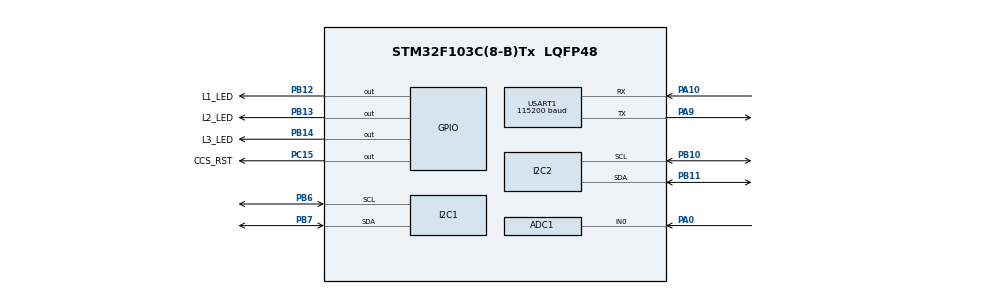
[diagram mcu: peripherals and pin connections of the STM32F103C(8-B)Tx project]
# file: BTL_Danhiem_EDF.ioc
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ADC1.Channel-0\#ChannelRegularConversion=ADC_CHANNEL_0
ADC1.ContinuousConvMode=ENABLE
ADC1.NbrOfConversionFlag=1
ADC1.Rank-0\#ChannelRegularConversion=1
ADC1.SamplingTime-0\#ChannelRegularConversion=ADC_SAMPLETIME_1CYCLE_5
ADC1.master=1
FREERTOS.BinarySemaphores01=BinarySem_ISR,Dynamic,NULL,Available
FREERTOS.HEAP_NUMBER=4
FREERTOS.Queues01=LCD_Queue,16,SensorData,0,Dynamic,NULL,NULL
FREERTOS.Tasks01=CO_mea,0,128,StartCO_mea,Default,NULL,Dynamic,NULL,NULL;Warning,-3,128,StartWarning,Default,NULL,Dynamic,NULL,NULL;LCD,-3,128,StartLCD,Default,NULL,Dynamic,NULL,NULL;CO2_mea,-3,128,StartCO2_mea,Default,NULL,Dynamic,NULL,NULL;TVOC_mea,-3,128,StartTVOC_mea,Default,NULL,Dynamic,NULL,NULL;UART_Send,-3,128,StartUART_Send,Default,NULL,Dynamic,NULL,NULL;Task_ISR,3,128,StartTask_ISR,Default,NULL,Dynamic,NULL,NULL
FREERTOS.configTOTAL_HEAP_SIZE=4800
FREERTOS.configUSE_PREEMPTION=0
Mcu.Family=STM32F1
Mcu.Name=STM32F103C(8-B)Tx
Mcu.Package=LQFP48
NVIC.PriorityGroup=NVIC_PRIORITYGROUP_4
NVIC.TIM2_IRQn=true\:15\:0\:false\:false\:true\:false\:false\:true\:true
NVIC.TimeBase=TIM2_IRQn
NVIC.TimeBaseIP=TIM2
NVIC.USART1_IRQn=true\:5\:0\:false\:false\:true\:true\:true\:true\:true
PA0-WKUP.Signal=ADCx_IN0
PA10.Mode=Asynchronous
PA10.Signal=USART1_RX
PA13.Mode=Serial_Wire
PA13.Signal=SYS_JTMS-SWDIO
PA14.Mode=Serial_Wire
PA14.Signal=SYS_JTCK-SWCLK
PA9.Mode=Asynchronous
PA9.Signal=USART1_TX
PB10.Mode=I2C
PB10.Signal=I2C2_SCL
PB11.Mode=I2C
PB11.Signal=I2C2_SDA
PB12.GPIO_Label=L1_LED
PB12.GPIO_Speed=GPIO_SPEED_FREQ_LOW
PB12.PinState=GPIO_PIN_SET
PB12.Signal=GPIO_Output
PB13.GPIO_Label=L2_LED
PB13.PinState=GPIO_PIN_SET
PB13.Signal=GPIO_Output
PB14.GPIO_Label=L3_LED
PB14.PinState=GPIO_PIN_SET
PB14.Signal=GPIO_Output
PB6.Mode=I2C
PB6.Signal=I2C1_SCL
PB7.Mode=I2C
PB7.Signal=I2C1_SDA
PC15-OSC32_OUT.GPIO_Label=CCS_RST
PC15-OSC32_OUT.PinState=GPIO_PIN_SET
PC15-OSC32_OUT.Signal=GPIO_Output
PD0-OSC_IN.Mode=HSE-External-Oscillator
PD0-OSC_IN.Signal=RCC_OSC_IN
PD1-OSC_OUT.Mode=HSE-External-Oscillator
PD1-OSC_OUT.Signal=RCC_OSC_OUT
ProjectManager.HeapSize=0x200
ProjectManager.StackSize=0x400
ProjectManager.TargetToolchain=STM32CubeIDE
RCC.APB1Freq_Value=8000000
RCC.APB2Freq_Value=8000000
SH.ADCx_IN0.0=ADC1_IN0,IN0
USART1.BaudRate=115200
USART1.VirtualMode=VM_ASYNC
VP_FREERTOS_VS_CMSIS_V1.Mode=CMSIS_V1
VP_SYS_VS_tim2.Mode=TIM2
board=custom

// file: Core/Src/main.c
/* USER CODE BEGIN Header */
/**
  ******************************************************************************
  * @file           : main.c
  * @brief          : Main program body
  ******************************************************************************
  * @attention
  *
  * Copyright (c) 2024 STMicroelectronics.
  * All rights reserved.
  *
  * This software is licensed under terms that can be found in the LICENSE file
  * in the root directory of this software component.
  * If no LICENSE file comes with this software, it is provided AS-IS.
  *
  ******************************************************************************
  */
/* USER CODE END Header */
#include "main.h"
#include "cmsis_os.h"

/* USER CODE BEGIN Includes */
#include "math.h"
#include "i2c-lcd.h"
#include <stdio.h>
#include "ccs811.h"
#include <stdlib.h>
#include <string.h>
#include "warning.h"
/* USER CODE END Includes */

/* USER CODE BEGIN PTD */
#define QUEUE_SIZE 9
/* USER CODE END PTD */

/* USER CODE BEGIN PD */
#define MAX_TASK 6
/* USER CODE END PD */

ADC_HandleTypeDef hadc1;

I2C_HandleTypeDef hi2c1;
I2C_HandleTypeDef hi2c2;

UART_HandleTypeDef huart1;

osThreadId CO_meaHandle;
osThreadId WarningHandle;
osThreadId LCDHandle;
osThreadId CO2_meaHandle;
osThreadId TVOC_meaHandle;
osThreadId UART_SendHandle;
osThreadId Task_ISRHandle;
osMessageQId LCD_QueueHandle;
osSemaphoreId BinarySem_ISRHandle;
/* USER CODE BEGIN PV */
typedef struct {
	char unit[4];
    char sensorName[10];  // Tên cảm biến
    uint16_t value;          // Giá trị đo
} SensorData;

typedef struct {
    const char *name;
    uint32_t execution_time;
    uint32_t deadline;
    uint32_t period;
} TaskConfig;

TaskConfig tasks[] = {
    {"StartCO_mea", 10, 100, 3000},
    {"StartCO2_mea", 10, 1100, 3000},
    {"StartTVOC_mea", 10, 2100, 3000},
    {"StartWarning", 5, 150, 1000},
	{"StartLCD_1", 60, 300, 1000},
    {"StartUart_Send", 10, 2400, 3000},
};
osThreadId task_ids[MAX_TASK];
uint32_t deadlines[MAX_TASK]={100,1100,2100,150,300,2400};

uint16_t Tvoc ;
uint16_t Tvoc_ppb;
uint32_t CO_adc_val;
uint16_t eCO2 ;
uint16_t CO2_ppm;
float CO_vol;
uint16_t CO_ppm;
char Lcd_buf[16];
uint8_t Uart_TX_Buf[40];
uint8_t Uart_RX_Buf[2];
/* USER CODE END PV */

void SystemClock_Config(void);
static void MX_GPIO_Init(void);
static void MX_ADC1_Init(void);
static void MX_I2C1_Init(void);
static void MX_I2C2_Init(void);
static void MX_USART1_UART_Init(void);
void StartCO_mea(void const * argument);
void StartWarning(void const * argument);
void StartLCD(void const * argument);
void StartCO2_mea(void const * argument);
void StartTVOC_mea(void const * argument);
void StartUART_Send(void const * argument);
void StartTask_ISR(void const * argument);

/* USER CODE BEGIN 0 */

int CO_ppm_convert(float CO_vol) {
    float a = ((5.0 - CO_vol) / CO_vol) * (10/10);
    return (int)round(100 * pow(a, -1.559));
}
void CO_measure()
{
	CO_adc_val = HAL_ADC_GetValue(&hadc1);
	CO_vol = ((float)CO_adc_val / 4095.0) * 5;
	CO_ppm = (uint16_t)(CO_ppm_convert(CO_vol));
}
void TVOC_measure()
{
	CCS811_Read_TVOC(&Tvoc);
	Tvoc_ppb=Tvoc;
}
void CO2_measure()
{
	CCS811_Read_Co2(&eCO2);
	CO2_ppm=eCO2;
}
void LCD_Display(SensorData data)
{
	lcd_clear();
	lcd_put_cur(0,0);
	snprintf(Lcd_buf, sizeof(Lcd_buf), "%s:", data.sensorName);
	lcd_send_string (Lcd_buf);
	lcd_put_cur(1,0);
	snprintf(Lcd_buf, sizeof(Lcd_buf), "%d %s", (int)data.value, data.unit);
	lcd_send_string (Lcd_buf);
}

void Uart_Send()
{
	sprintf((char*)Uart_TX_Buf, "CO:%d ppm\r\n",(int)CO_ppm);
	HAL_UART_Transmit(&huart1, (uint8_t*)Uart_TX_Buf,strlen((char*)Uart_TX_Buf) , HAL_MAX_DELAY);
	sprintf((char*)Uart_TX_Buf, "CO2:%d ppm\r\n",(int)CO2_ppm);
	HAL_UART_Transmit(&huart1,(uint8_t*)Uart_TX_Buf,strlen((char*)Uart_TX_Buf) , HAL_MAX_DELAY);
	sprintf((char*)Uart_TX_Buf, "TVOC:%d ppb\r\n",(int)Tvoc_ppb);
	HAL_UART_Transmit(&huart1,(uint8_t*) Uart_TX_Buf,strlen((char*)Uart_TX_Buf) , HAL_MAX_DELAY);
	sprintf((char*)Uart_TX_Buf, "--------\r\n");
	HAL_UART_Transmit(&huart1, (uint8_t*)Uart_TX_Buf, strlen((char*)Uart_TX_Buf), HAL_MAX_DELAY);
}
void HAL_UART_RxCpltCallback(UART_HandleTypeDef *huart) {
    if (huart->Instance == USART1)
    {
    	osSemaphoreRelease(BinarySem_ISRHandle);
    }
    HAL_UART_Receive_IT(&huart1, Uart_RX_Buf, 1);
}
void EDFScheduler();
/* USER CODE END 0 */

int main(void)
{

  /* MCU Configuration--------------------------------------------------------*/

  /* Reset of all peripherals, Initializes the Flash interface and the Systick. */
  HAL_Init();

  /* Configure the system clock */
  SystemClock_Config();

  /* Initialize all configured peripherals */
  MX_GPIO_Init();
  MX_ADC1_Init();
  MX_I2C1_Init();
  MX_I2C2_Init();
  MX_USART1_UART_Init();
  /* USER CODE BEGIN 2 */
  CCS811_Init();
  CCS811_Reset();
  CCS811_Set_Mode(CCS811_MODE_1SEC);
  CCS811_EnableInt();
  HAL_ADC_Start(&hadc1);
  lcd_init();
  HAL_UART_Receive_IT(&huart1, Uart_RX_Buf, 1);
  /* USER CODE END 2 */

  /* Create the semaphores(s) */
  /* definition and creation of BinarySem_ISR */
  osSemaphoreDef(BinarySem_ISR);
  BinarySem_ISRHandle = osSemaphoreCreate(osSemaphore(BinarySem_ISR), 1);

  /* Create the queue(s) */
  /* definition and creation of LCD_Queue */
  osMessageQDef(LCD_Queue, 16, SensorData);
  LCD_QueueHandle = osMessageCreate(osMessageQ(LCD_Queue), NULL);

  /* Create the thread(s) */
  /* definition and creation of CO_mea */
  osThreadDef(CO_mea, StartCO_mea, osPriorityNormal, 0, 128);
  CO_meaHandle = osThreadCreate(osThread(CO_mea), NULL);

  /* definition and creation of Warning */
  osThreadDef(Warning, StartWarning, osPriorityIdle, 0, 128);
  WarningHandle = osThreadCreate(osThread(Warning), NULL);

  /* definition and creation of LCD */
  osThreadDef(LCD, StartLCD, osPriorityIdle, 0, 128);
  LCDHandle = osThreadCreate(osThread(LCD), NULL);

  /* definition and creation of CO2_mea */
  osThreadDef(CO2_mea, StartCO2_mea, osPriorityIdle, 0, 128);
  CO2_meaHandle = osThreadCreate(osThread(CO2_mea), NULL);

  /* definition and creation of TVOC_mea */
  osThreadDef(TVOC_mea, StartTVOC_mea, osPriorityIdle, 0, 128);
  TVOC_meaHandle = osThreadCreate(osThread(TVOC_mea), NULL);

  /* definition and creation of UART_Send */
  osThreadDef(UART_Send, StartUART_Send, osPriorityIdle, 0, 128);
  UART_SendHandle = osThreadCreate(osThread(UART_Send), NULL);

  /* definition and creation of Task_ISR */
  osThreadDef(Task_ISR, StartTask_ISR, osPriorityRealtime, 0, 128);
  Task_ISRHandle = osThreadCreate(osThread(Task_ISR), NULL);

  /* USER CODE BEGIN RTOS_THREADS */
  /* add threads, ... */
  task_ids[0] = CO_meaHandle;
  task_ids[1] = CO2_meaHandle;
  task_ids[2] = TVOC_meaHandle;
  task_ids[3] = WarningHandle;
  task_ids[4] = LCDHandle;
  task_ids[5] = UART_SendHandle;

  /* USER CODE END RTOS_THREADS */

  /* Start scheduler */
  osKernelStart();

  /* We should never get here as control is now taken by the scheduler */

  /* Infinite loop */
  /* USER CODE BEGIN WHILE */
  while (1)
  {
	EDFScheduler();
	osDelay(100);
    /* USER CODE END WHILE */

  }
}

void SystemClock_Config(void)
{
  RCC_OscInitTypeDef RCC_OscInitStruct = {0};
  RCC_ClkInitTypeDef RCC_ClkInitStruct = {0};
  RCC_PeriphCLKInitTypeDef PeriphClkInit = {0};

  /** Initializes the RCC Oscillators according to the specified parameters
  * in the RCC_OscInitTypeDef structure.
  */
  RCC_OscInitStruct.OscillatorType = RCC_OSCILLATORTYPE_HSI;
  RCC_OscInitStruct.HSIState = RCC_HSI_ON;
  RCC_OscInitStruct.HSICalibrationValue = RCC_HSICALIBRATION_DEFAULT;
  RCC_OscInitStruct.PLL.PLLState = RCC_PLL_NONE;
  if (HAL_RCC_OscConfig(&RCC_OscInitStruct) != HAL_OK)
  {
    Error_Handler();
  }

  /** Initializes the CPU, AHB and APB buses clocks
  */
  RCC_ClkInitStruct.ClockType = RCC_CLOCKTYPE_HCLK|RCC_CLOCKTYPE_SYSCLK
                              |RCC_CLOCKTYPE_PCLK1|RCC_CLOCKTYPE_PCLK2;
  RCC_ClkInitStruct.SYSCLKSource = RCC_SYSCLKSOURCE_HSI;
  RCC_ClkInitStruct.AHBCLKDivider = RCC_SYSCLK_DIV1;
  RCC_ClkInitStruct.APB1CLKDivider = RCC_HCLK_DIV1;
  RCC_ClkInitStruct.APB2CLKDivider = RCC_HCLK_DIV1;

  if (HAL_RCC_ClockConfig(&RCC_ClkInitStruct, FLASH_LATENCY_0) != HAL_OK)
  {
    Error_Handler();
  }
  PeriphClkInit.PeriphClockSelection = RCC_PERIPHCLK_ADC;
  PeriphClkInit.AdcClockSelection = RCC_ADCPCLK2_DIV2;
  if (HAL_RCCEx_PeriphCLKConfig(&PeriphClkInit) != HAL_OK)
  {
    Error_Handler();
  }
}

static void MX_ADC1_Init(void)
{

  ADC_ChannelConfTypeDef sConfig = {0};

  /** Common config
  */
  hadc1.Instance = ADC1;
  hadc1.Init.ScanConvMode = ADC_SCAN_DISABLE;
  hadc1.Init.ContinuousConvMode = ENABLE;
  hadc1.Init.DiscontinuousConvMode = DISABLE;
  hadc1.Init.ExternalTrigConv = ADC_SOFTWARE_START;
  hadc1.Init.DataAlign = ADC_DATAALIGN_RIGHT;
  hadc1.Init.NbrOfConversion = 1;
  if (HAL_ADC_Init(&hadc1) != HAL_OK)
  {
    Error_Handler();
  }

  /** Configure Regular Channel
  */
  sConfig.Channel = ADC_CHANNEL_0;
  sConfig.Rank = ADC_REGULAR_RANK_1;
  sConfig.SamplingTime = ADC_SAMPLETIME_1CYCLE_5;
  if (HAL_ADC_ConfigChannel(&hadc1, &sConfig) != HAL_OK)
  {
    Error_Handler();
  }

}

static void MX_I2C1_Init(void)
{

  hi2c1.Instance = I2C1;
  hi2c1.Init.ClockSpeed = 100000;
  hi2c1.Init.DutyCycle = I2C_DUTYCYCLE_2;
  hi2c1.Init.OwnAddress1 = 0;
  hi2c1.Init.AddressingMode = I2C_ADDRESSINGMODE_7BIT;
  hi2c1.Init.DualAddressMode = I2C_DUALADDRESS_DISABLE;
  hi2c1.Init.OwnAddress2 = 0;
  hi2c1.Init.GeneralCallMode = I2C_GENERALCALL_DISABLE;
  hi2c1.Init.NoStretchMode = I2C_NOSTRETCH_DISABLE;
  if (HAL_I2C_Init(&hi2c1) != HAL_OK)
  {
    Error_Handler();
  }

}

static void MX_I2C2_Init(void)
{

  hi2c2.Instance = I2C2;
  hi2c2.Init.ClockSpeed = 100000;
  hi2c2.Init.DutyCycle = I2C_DUTYCYCLE_2;
  hi2c2.Init.OwnAddress1 = 0;
  hi2c2.Init.AddressingMode = I2C_ADDRESSINGMODE_7BIT;
  hi2c2.Init.DualAddressMode = I2C_DUALADDRESS_DISABLE;
  hi2c2.Init.OwnAddress2 = 0;
  hi2c2.Init.GeneralCallMode = I2C_GENERALCALL_DISABLE;
  hi2c2.Init.NoStretchMode = I2C_NOSTRETCH_DISABLE;
  if (HAL_I2C_Init(&hi2c2) != HAL_OK)
  {
    Error_Handler();
  }

}

static void MX_USART1_UART_Init(void)
{

  huart1.Instance = USART1;
  huart1.Init.BaudRate = 115200;
  huart1.Init.WordLength = UART_WORDLENGTH_8B;
  huart1.Init.StopBits = UART_STOPBITS_1;
  huart1.Init.Parity = UART_PARITY_NONE;
  huart1.Init.Mode = UART_MODE_TX_RX;
  huart1.Init.HwFlowCtl = UART_HWCONTROL_NONE;
  huart1.Init.OverSampling = UART_OVERSAMPLING_16;
  if (HAL_UART_Init(&huart1) != HAL_OK)
  {
    Error_Handler();
  }

}

static void MX_GPIO_Init(void)
{
  GPIO_InitTypeDef GPIO_InitStruct = {0};

  /* GPIO Ports Clock Enable */
  __HAL_RCC_GPIOC_CLK_ENABLE();
  __HAL_RCC_GPIOD_CLK_ENABLE();
  __HAL_RCC_GPIOA_CLK_ENABLE();
  __HAL_RCC_GPIOB_CLK_ENABLE();

  /*Configure GPIO pin Output Level */
  HAL_GPIO_WritePin(CCS_RST_GPIO_Port, CCS_RST_Pin, GPIO_PIN_SET);

  /*Configure GPIO pin Output Level */
  HAL_GPIO_WritePin(GPIOB, L1_LED_Pin|L2_LED_Pin|L3_LED_Pin, GPIO_PIN_SET);

  /*Configure GPIO pin : CCS_RST_Pin */
  GPIO_InitStruct.Pin = CCS_RST_Pin;
  GPIO_InitStruct.Mode = GPIO_MODE_OUTPUT_PP;
  GPIO_InitStruct.Pull = GPIO_NOPULL;
  GPIO_InitStruct.Speed = GPIO_SPEED_FREQ_LOW;
  HAL_GPIO_Init(CCS_RST_GPIO_Port, &GPIO_InitStruct);

  /*Configure GPIO pins : L1_LED_Pin L2_LED_Pin L3_LED_Pin */
  GPIO_InitStruct.Pin = L1_LED_Pin|L2_LED_Pin|L3_LED_Pin;
  GPIO_InitStruct.Mode = GPIO_MODE_OUTPUT_PP;
  GPIO_InitStruct.Pull = GPIO_NOPULL;
  GPIO_InitStruct.Speed = GPIO_SPEED_FREQ_LOW;
  HAL_GPIO_Init(GPIOB, &GPIO_InitStruct);

}

/* USER CODE BEGIN 4 */
void EDFScheduler() {
    uint32_t current_time = osKernelSysTick(); // Lấy th�?i gian hiện tại

    // Cập nhật deadline nếu đã quá hạn
    for (int i = 0; i < MAX_TASK; i++) {
        if (current_time >= deadlines[i]) {
            deadlines[i] += tasks[i].period; // Reset deadline
        }
    }

    // Sắp xếp các task theo deadline gần nhất (Bubble Sort)
    for (int i = 0; i < MAX_TASK-1; i++) {
        for (int j = i + 1; j < MAX_TASK; j++) {
            if (deadlines[i] > deadlines[j]) {
                uint32_t temp = deadlines[i];
                deadlines[i] = deadlines[j];
                deadlines[j] = temp;

                TaskConfig temp_task = tasks[i];
                tasks[i] = tasks[j];
                tasks[j] = temp_task;
            }
        }
    }
    // Cập nhật độ ưu tiên
    for (int i = 0; i < MAX_TASK; i++) {
        osPriority priority = osPriorityIdle + (osPriorityRealtime - i-1);
        osThreadSetPriority(task_ids[i], priority);
    }
}
/* USER CODE END 4 */

void StartCO_mea(void const * argument)
{
  /* USER CODE BEGIN 5 */
	SensorData data3;
	snprintf(data3.sensorName, sizeof(data3.sensorName), "CO");
	snprintf(data3.unit, sizeof(data3.unit), "ppm");
	uint32_t task_index = 0;
	uint32_t execution_time = tasks[task_index].execution_time;  // Th ?i gian thực thi của task
	uint32_t period = tasks[task_index].period;  // Chu kỳ của task
  /* Infinite loop */
  for(;;)
  {
	  CO_measure();
	  data3.value = CO_ppm;
	  osMessagePut(LCD_QueueHandle, (uint32_t)(uintptr_t)&data3, osWaitForever);
	  osDelay(period - execution_time);
  }
  /* USER CODE END 5 */
}

void StartWarning(void const * argument)
{
  /* USER CODE BEGIN StartWarning */
	uint32_t task_index = 3;
	uint32_t execution_time = tasks[task_index].execution_time;  // Th ?i gian thực thi của task
	uint32_t period = tasks[task_index].period;  // Chu kỳ của task
  /* Infinite loop */
  for(;;)
  {
	Warning();
    osDelay(period-execution_time);
  }
  /* USER CODE END StartWarning */
}

void StartLCD(void const * argument)
{
  /* USER CODE BEGIN StartLCD */
	osEvent evt;
	SensorData receivedData;
	uint32_t task_index = 4;
	uint32_t execution_time = tasks[task_index].execution_time;  // Th ?i gian thực thi của task
	uint32_t period = tasks[task_index].period;  // Chu kỳ của task
  /* Infinite loop */
  for(;;)
  {
	evt = osMessageGet(LCD_QueueHandle, osWaitForever);
	if (evt.status == osEventMessage)
	{
	   receivedData = *(SensorData *)evt.value.p;
	   LCD_Display(receivedData);
	}
    osDelay(period-execution_time);
  }
  /* USER CODE END StartLCD */
}

void StartCO2_mea(void const * argument)
{
  /* USER CODE BEGIN StartCO2_mea */
	SensorData data2;
	snprintf(data2.sensorName, sizeof(data2.sensorName), "CO2");
	snprintf(data2.unit, sizeof(data2.unit), "ppm");
	uint32_t task_index = 1;
	uint32_t execution_time = tasks[task_index].execution_time;  // Th ?i gian thực thi của task
	uint32_t period = tasks[task_index].period;  // Chu kỳ của task
  /* Infinite loop */
  for(;;)
  {
	CO2_measure();
	data2.value = CO2_ppm;
	osMessagePut(LCD_QueueHandle, (uint32_t)(uintptr_t)&data2, osWaitForever);
	osDelay(period - execution_time);
  }
  /* USER CODE END StartCO2_mea */
}

void StartTVOC_mea(void const * argument)
{
  /* USER CODE BEGIN StartTVOC_mea */
	SensorData data1;
	snprintf(data1.sensorName, sizeof(data1.sensorName), "TVOC");
	snprintf(data1.unit, sizeof(data1.unit), "ppb");
	uint32_t task_index = 2;
	uint32_t execution_time = tasks[task_index].execution_time;  // Th ?i gian thực thi của task
	uint32_t period = tasks[task_index].period;  // Chu kỳ của task
  /* Infinite loop */
  for(;;)
  {
	  TVOC_measure();
	  data1.value = Tvoc_ppb;
	  osMessagePut(LCD_QueueHandle, (uint32_t)(uintptr_t)&data1, osWaitForever);
	  osDelay(period - execution_time);
  }
  /* USER CODE END StartTVOC_mea */
}

void StartUART_Send(void const * argument)
{
  /* USER CODE BEGIN StartUART_Send */
	uint32_t task_index = 5;
	uint32_t execution_time = tasks[task_index].execution_time;  // Th ?i gian thực thi của task
	uint32_t period = tasks[task_index].period;  // Chu kỳ của task
  /* Infinite loop */
  for(;;)
  {
	Uart_Send();
    osDelay(period-execution_time);
  }
  /* USER CODE END StartUART_Send */
}

void StartTask_ISR(void const * argument)
{
  /* USER CODE BEGIN StartTask_ISR */
  /* Infinite loop */
	  for(;;)
	  {
		 osSemaphoreWait(BinarySem_ISRHandle,osWaitForever);
		 if((char)Uart_RX_Buf[0] == '3')
		 {
			TVOC_measure();
			sprintf((char*)Uart_TX_Buf, "TVOC:%d ppb\r\n",(int)Tvoc_ppb);
			HAL_UART_Transmit(&huart1,(uint8_t*) Uart_TX_Buf,strlen((char*)Uart_TX_Buf) , HAL_MAX_DELAY);
			sprintf((char*)Uart_TX_Buf, "--------\r\n");
			HAL_UART_Transmit(&huart1, (uint8_t*)Uart_TX_Buf, strlen((char*)Uart_TX_Buf), HAL_MAX_DELAY);
		 }
		 else if((char)Uart_RX_Buf[0]  == '2')
		 {
			CO2_measure();
			sprintf((char*)Uart_TX_Buf, "CO2:%d ppm\r\n",(int)CO2_ppm);
			HAL_UART_Transmit(&huart1,(uint8_t*) Uart_TX_Buf,strlen((char*)Uart_TX_Buf) , HAL_MAX_DELAY);
			sprintf((char*)Uart_TX_Buf, "--------\r\n");
			HAL_UART_Transmit(&huart1, (uint8_t*)Uart_TX_Buf, strlen((char*)Uart_TX_Buf), HAL_MAX_DELAY);
		 }
		 else if((char)Uart_RX_Buf[0]  == '1')
		 {
			CO_measure();
			sprintf((char*)Uart_TX_Buf, "CO:%d ppm\r\n",(int)CO_ppm);
			HAL_UART_Transmit(&huart1,(uint8_t*) Uart_TX_Buf,strlen((char*)Uart_TX_Buf) , HAL_MAX_DELAY);
			sprintf((char*)Uart_TX_Buf, "--------\r\n");
			HAL_UART_Transmit(&huart1, (uint8_t*)Uart_TX_Buf, strlen((char*)Uart_TX_Buf), HAL_MAX_DELAY);
		 }
		 osDelay(1000);
	  }

  /* USER CODE END StartTask_ISR */
}

void HAL_TIM_PeriodElapsedCallback(TIM_HandleTypeDef *htim)
{
  if (htim->Instance == TIM2) {
    HAL_IncTick();
  }
}

void Error_Handler(void)
{
  __disable_irq();
  while (1)
  {
  }
}
